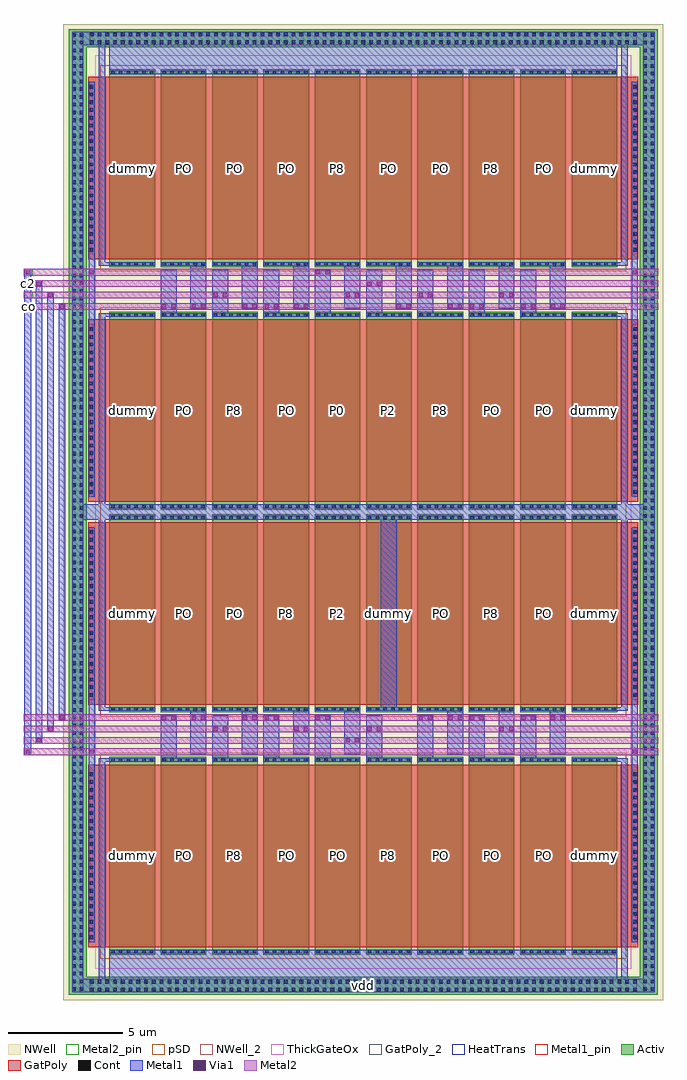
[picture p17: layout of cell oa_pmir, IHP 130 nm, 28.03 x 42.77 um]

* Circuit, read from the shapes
.subckt oa_pmir c2 c8 co vdd vpg
XM1 vdd vpg vdd vdd sg13_hv_pmos w=2u l=8u m=9
XM2 co vpg vdd vdd sg13_hv_pmos w=2u l=8u m=20
XM3 c8 vpg vdd vdd sg13_hv_pmos w=2u l=8u m=8
XM4 vdd vpg c2 vdd sg13_hv_pmos w=2u l=8u m=2
XM5 vpg vpg vdd vdd sg13_hv_pmos w=2u l=8u
.ends

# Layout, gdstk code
from math import pi, radians
import gdstk
lib = gdstk.Library(unit=1e-6, precision=1e-09)
def R(c, l, rs):  # rectangles x0, y0, x1, y1
    for r in rs: c.add(gdstk.rectangle(r[:2], r[2:], *l))
def A(c, l, x, y, w, h, nx, ny, dx, dy):  # array of equal rectangles
    R(c, l, [(x+i*dx, y+j*dy, x+i*dx+w, y+j*dy+h) for i in range(nx) for j in range(ny)])
Activ = (1, 0)
GatPoly = (5, 0)
GatPoly_2 = (5, 2)
Cont = (6, 0)
Metal1 = (8, 0)
Metal1_pin = (8, 2)
Metal2 = (10, 0)
Metal2_pin = (10, 2)
pSD = (14, 0)
Via1 = (19, 0)
NWell = (31, 0)
NWell_2 = (31, 2)
ThickGateOx = (44, 0)
HeatTrans = (51, 0)

pmoshv_9 = lib.new_cell('pmosHV$9')
R(pmoshv_9, Activ, [(0,0,0.3,0.3), (0,0,8.68,2), (8.38,0,8.68,0.3)])
R(pmoshv_9, GatPoly, [(0.34,-0.18,8.34,2.18)])
R(pmoshv_9, GatPoly_2, [(0.34,-0.18,8.34,2.18)])
A(pmoshv_9, Cont, 0.07, 0.07, 0.16, 0.16, 1, 6, 0, 0.34)
A(pmoshv_9, Cont, 8.45, 0.07, 0.16, 0.16, 1, 6, 0, 0.34)
R(pmoshv_9, Metal1, [(0.07,0,0.23,2), (8.45,0,8.61,2)])
R(pmoshv_9, Metal1_pin, [(0.07,0,0.23,2), (8.45,0,8.61,2)])
R(pmoshv_9, pSD, [(-0.18,-0.4,8.86,2.4)])
R(pmoshv_9, NWell, [(-0.62,-0.62,9.3,2.62)])
R(pmoshv_9, ThickGateOx, [(-0.62,-0.62,9.3,2.62)])
R(pmoshv_9, HeatTrans, [(0.34,-0.18,8.34,2.18)])
pmoshv_9.add(gdstk.Label('pmosHV', (4.34,1), layer=63, texttype=0))
pmoshv_9.add(gdstk.Label('pmos', (4.34,1), layer=51, texttype=0))

oa_pmir_row = lib.new_cell('oa_pmir_row')
R(oa_pmir_row, GatPoly, [(-0.93,0.34,-0.18,8.34), (22.43,0.34,23.18,8.34)])
A(oa_pmir_row, Cont, -0.86, 0.69, 0.16, 0.16, 1, 22, 0, 0.34)
A(oa_pmir_row, Cont, 22.95, 0.69, 0.16, 0.16, 1, 22, 0, 0.34)
R(oa_pmir_row, Metal1, [(-0.91,0.56,-0.65,8.12), (22.9,0.56,23.16,8.12)])
R(oa_pmir_row, Metal1_pin, [(-0.91,0.56,-0.65,8.12), (22.9,0.56,23.16,8.12)])
r = gdstk.Reference(pmoshv_9, (0,8.68), rotation=3*pi/2); r.repetition = gdstk.Repetition(1, 10, v1=(0,0), v2=(2.25,0)); oa_pmir_row.add(r)
oa_pmir_row.add(gdstk.Label('vpg', (-0.78,4.34), layer=8, texttype=25))
oa_pmir_row.add(gdstk.Label('vpg', (23.03,4.34), layer=8, texttype=25))

ntap1_35 = lib.new_cell('ntap1$35')
R(ntap1_35, Activ, [(0,0,0.78,42.29)])
A(ntap1_35, Cont, 0.14, 0.155, 0.16, 0.16, 1, 124, 0, 0.34)
A(ntap1_35, Cont, 0.48, 0.155, 0.16, 0.16, 1, 124, 0, 0.34)
R(ntap1_35, Metal1, [(0.14,0.105,0.64,42.185)])
R(ntap1_35, Metal1_pin, [(0.14,0.105,0.64,42.185), (0.14,0.155,0.64,42.135)])
R(ntap1_35, NWell, [(-0.24,-0.24,1.02,42.53), (0,0,0.78,42.29)])
R(ntap1_35, NWell_2, [(0,0,0.78,42.29)])
ntap1_35.add(gdstk.Label('well', (0.39,0.01), layer=63, texttype=0))
ntap1_35.add(gdstk.Label('well', (0.39,0.01), layer=31, texttype=0))

ntap1_36 = lib.new_cell('ntap1$36')
R(ntap1_36, Activ, [(0,0,24.25,0.78)])
A(ntap1_36, Cont, 0.145, 0.14, 0.16, 0.16, 71, 2, 0.34, 0.34)
R(ntap1_36, Metal1, [(0.145,0.09,24.105,0.69)])
R(ntap1_36, Metal1_pin, [(0.145,0.09,24.105,0.69), (0.145,0.14,24.105,0.64)])
R(ntap1_36, NWell, [(-0.24,-0.24,24.49,1.02), (0,0,24.25,0.78)])
R(ntap1_36, NWell_2, [(0,0,24.25,0.78)])
ntap1_36.add(gdstk.Label('well', (12.125,0.01), layer=63, texttype=0))
ntap1_36.add(gdstk.Label('well', (12.125,0.01), layer=31, texttype=0))

oa_pmir = lib.new_cell('oa_pmir')
A(oa_pmir, Metal1, 2.25, 8.45, 0.7, 2.055, 8, 2, 2.25, 19.51)
A(oa_pmir, Metal1, 3.55, 8.795, 0.7, 2.055, 4, 1, 2.25, 0)
A(oa_pmir, Metal1, 14.8, 8.795, 0.7, 2.055, 3, 1, 2.25, 0)
A(oa_pmir, Metal1, 3.55, 28.305, 0.7, 2.055, 8, 1, 2.25, 0)
R(oa_pmir, Metal1, [(-1.64,-1.65,23.89,-1.635), (-1.24,-1.65,-0.755,-1.05), (0,-1.65,22.25,0.23), (23.005,-1.65,23.49,-1.05), (-0.47,-1.15,-0.18,8.61), (22.43,-1.15,22.72,8.61), (-0.91,8.02,-0.65,11.28), (22.9,8.02,23.16,11.28), (-0.47,8.45,0.1,8.61), (22.15,8.45,22.72,8.61), (-3.725,8.755,-3.435,30.055), (-3.225,9.255,-2.935,29.555), (-2.725,9.755,-2.435,29.055), (-2.225,10.255,-1.935,28.555), (-0.47,10.69,0.1,10.85), (-0.47,10.69,-0.18,19.74), (11.9,10.69,12.6,19.23), (22.15,10.69,22.72,10.85), (22.43,10.69,22.72,19.74), (-1.24,19.07,23.49,19.74), (-0.47,19.07,-0.18,28.12), (22.43,19.07,22.72,28.12), (-0.91,27.53,-0.65,30.79), (22.9,27.53,23.16,30.79), (-0.47,27.96,0.1,28.12), (22.15,27.96,22.72,28.12), (-0.47,30.2,-0.18,39.96), (-0.47,30.2,0.1,30.36), (22.15,30.2,22.72,30.36), (22.43,30.2,22.72,39.96), (0,38.58,22.25,40.46), (-1.24,39.86,-0.755,40.46), (23.005,39.86,23.49,40.46), (-1.64,40.445,23.89,40.46)])
R(oa_pmir, Metal1_pin, [(-0.855,-1.65,23.105,-1.05)])
A(oa_pmir, Metal2_pin, -3.755, 28.265, 0.4, 0.29, 1, 4, 0, 0.5)
R(oa_pmir, Via1, [(-3.675,8.805,-3.485,8.995), (-0.875,8.805,-0.685,8.995), (22.935,8.805,23.125,8.995), (-3.175,9.305,-2.985,9.495), (10.35,9.305,10.54,9.495), (10.76,9.305,10.95,9.495), (-2.675,9.805,-2.485,9.995), (4.55,9.805,4.74,9.995), (4.96,9.805,5.15,9.995), (8.1,9.805,8.29,9.995), (8.51,9.805,8.7,9.995), (11.3,9.805,11.49,9.995), (11.71,9.805,11.9,9.995), (17.1,9.805,17.29,9.995), (17.51,9.805,17.7,9.995), (-2.175,10.305,-1.985,10.495), (2.3,10.305,2.49,10.495), (2.71,10.305,2.9,10.495), (3.6,10.305,3.79,10.495), (4.01,10.305,4.2,10.495), (5.85,10.305,6.04,10.495), (6.26,10.305,6.45,10.495), (6.8,10.305,6.99,10.495), (7.21,10.305,7.4,10.495), (9.05,10.305,9.24,10.495), (9.46,10.305,9.65,10.495), (13.55,10.305,13.74,10.495), (13.96,10.305,14.15,10.495), (14.85,10.305,15.04,10.495), (15.26,10.305,15.45,10.495), (15.8,10.305,15.99,10.495), (16.21,10.305,16.4,10.495), (18.05,10.305,18.24,10.495), (18.46,10.305,18.65,10.495), (19.35,10.305,19.54,10.495), (19.76,10.305,19.95,10.495), (-2.175,28.315,-1.985,28.505), (2.3,28.315,2.49,28.505), (2.71,28.315,2.9,28.505), (3.6,28.315,3.79,28.505), (4.01,28.315,4.2,28.505), (5.85,28.315,6.04,28.505), (6.26,28.315,6.45,28.505), (6.8,28.315,6.99,28.505), (7.21,28.315,7.4,28.505), (8.1,28.315,8.29,28.505), (8.51,28.315,8.7,28.505), (12.6,28.315,12.79,28.505), (13.01,28.315,13.2,28.505), (14.85,28.315,15.04,28.505), (15.26,28.315,15.45,28.505), (15.8,28.315,15.99,28.505), (16.21,28.315,16.4,28.505), (18.05,28.315,18.24,28.505), (18.46,28.315,18.65,28.505), (19.35,28.315,19.54,28.505), (19.76,28.315,19.95,28.505), (-2.675,28.815,-2.485,29.005), (4.55,28.815,4.74,29.005), (4.96,28.815,5.15,29.005), (10.35,28.815,10.54,29.005), (10.76,28.815,10.95,29.005), (13.55,28.815,13.74,29.005), (13.96,28.815,14.15,29.005), (17.1,28.815,17.29,29.005), (17.51,28.815,17.7,29.005), (-3.175,29.315,-2.985,29.505), (11.3,29.315,11.49,29.505), (11.71,29.315,11.9,29.505), (-3.675,29.815,-3.485,30.005), (-0.875,29.815,-0.685,30.005), (9.05,29.815,9.24,30.005), (9.46,29.815,9.65,30.005), (22.935,29.815,23.125,30.005)])
R(oa_pmir, NWell, [(-2.02,-1.98,24.27,40.79)])
R(oa_pmir, ThickGateOx, [(-0.62,-0.62,22.87,39.43)])
oa_pmir.add(gdstk.FlexPath([(-3.61,28.41),(23.915,28.41)], 0.29, ends="extended", simple_path=True, layer=10, datatype=0))  # Metal2
oa_pmir.add(gdstk.FlexPath([(-3.61,28.91),(23.915,28.91)], 0.29, ends="extended", simple_path=True, layer=10, datatype=0))  # Metal2
oa_pmir.add(gdstk.FlexPath([(-3.61,29.41),(23.915,29.41)], 0.29, ends="extended", simple_path=True, layer=10, datatype=0))  # Metal2
oa_pmir.add(gdstk.FlexPath([(-3.61,29.91),(23.915,29.91)], 0.29, ends="extended", simple_path=True, layer=10, datatype=0))  # Metal2
oa_pmir.add(gdstk.FlexPath([(-3.61,8.9),(23.915,8.9)], 0.29, ends="extended", simple_path=True, layer=10, datatype=0))  # Metal2
oa_pmir.add(gdstk.FlexPath([(-3.61,9.4),(23.915,9.4)], 0.29, ends="extended", simple_path=True, layer=10, datatype=0))  # Metal2
oa_pmir.add(gdstk.FlexPath([(-3.61,9.9),(23.915,9.9)], 0.29, ends="extended", simple_path=True, layer=10, datatype=0))  # Metal2
oa_pmir.add(gdstk.FlexPath([(-3.61,10.4),(23.915,10.4)], 0.29, ends="extended", simple_path=True, layer=10, datatype=0))  # Metal2
oa_pmir.add(gdstk.Reference(oa_pmir_row, (0,30.13)))
oa_pmir.add(gdstk.Reference(oa_pmir_row, (0,19.51)))
oa_pmir.add(gdstk.Reference(oa_pmir_row, (0,10.62)))
oa_pmir.add(gdstk.Reference(oa_pmir_row, (0,0)))
oa_pmir.add(gdstk.Reference(ntap1_35, (-1.78,-1.74)))
oa_pmir.add(gdstk.Reference(ntap1_35, (23.25,-1.74)))
oa_pmir.add(gdstk.Reference(ntap1_36, (-1,39.77)))
oa_pmir.add(gdstk.Reference(ntap1_36, (-1,-1.74)))
oa_pmir.add(gdstk.Label('dummy', (1,34.47), layer=63, texttype=0))
oa_pmir.add(gdstk.Label('PO', (3.25,34.47), layer=63, texttype=0))
oa_pmir.add(gdstk.Label('PO', (5.5,34.47), layer=63, texttype=0))
oa_pmir.add(gdstk.Label('PO', (7.75,34.47), layer=63, texttype=0))
oa_pmir.add(gdstk.Label('P8', (10,34.47), layer=63, texttype=0))
oa_pmir.add(gdstk.Label('PO', (12.25,34.47), layer=63, texttype=0))
oa_pmir.add(gdstk.Label('PO', (14.5,34.47), layer=63, texttype=0))
oa_pmir.add(gdstk.Label('P8', (16.75,34.47), layer=63, texttype=0))
oa_pmir.add(gdstk.Label('PO', (19,34.47), layer=63, texttype=0))
oa_pmir.add(gdstk.Label('dummy', (21.25,34.47), layer=63, texttype=0))
oa_pmir.add(gdstk.Label('dummy', (1,23.85), layer=63, texttype=0))
oa_pmir.add(gdstk.Label('PO', (3.25,23.85), layer=63, texttype=0))
oa_pmir.add(gdstk.Label('P8', (5.5,23.85), layer=63, texttype=0))
oa_pmir.add(gdstk.Label('PO', (7.75,23.85), layer=63, texttype=0))
oa_pmir.add(gdstk.Label('P0', (10,23.85), layer=63, texttype=0))
oa_pmir.add(gdstk.Label('P2', (12.25,23.85), layer=63, texttype=0))
oa_pmir.add(gdstk.Label('P8', (14.5,23.85), layer=63, texttype=0))
oa_pmir.add(gdstk.Label('PO', (16.75,23.85), layer=63, texttype=0))
oa_pmir.add(gdstk.Label('PO', (19,23.85), layer=63, texttype=0))
oa_pmir.add(gdstk.Label('dummy', (21.25,23.85), layer=63, texttype=0))
oa_pmir.add(gdstk.Label('dummy', (1,14.96), layer=63, texttype=0))
oa_pmir.add(gdstk.Label('PO', (3.25,14.96), layer=63, texttype=0))
oa_pmir.add(gdstk.Label('PO', (5.5,14.96), layer=63, texttype=0))
oa_pmir.add(gdstk.Label('P8', (7.75,14.96), layer=63, texttype=0))
oa_pmir.add(gdstk.Label('P2', (10,14.96), layer=63, texttype=0))
oa_pmir.add(gdstk.Label('dummy', (12.25,14.96), layer=63, texttype=0))
oa_pmir.add(gdstk.Label('PO', (14.5,14.96), layer=63, texttype=0))
oa_pmir.add(gdstk.Label('P8', (16.75,14.96), layer=63, texttype=0))
oa_pmir.add(gdstk.Label('PO', (19,14.96), layer=63, texttype=0))
oa_pmir.add(gdstk.Label('dummy', (21.25,14.96), layer=63, texttype=0))
oa_pmir.add(gdstk.Label('dummy', (1,4.34), layer=63, texttype=0))
oa_pmir.add(gdstk.Label('PO', (3.25,4.34), layer=63, texttype=0))
oa_pmir.add(gdstk.Label('P8', (5.5,4.34), layer=63, texttype=0))
oa_pmir.add(gdstk.Label('PO', (7.75,4.34), layer=63, texttype=0))
oa_pmir.add(gdstk.Label('PO', (10,4.34), layer=63, texttype=0))
oa_pmir.add(gdstk.Label('P8', (12.25,4.34), layer=63, texttype=0))
oa_pmir.add(gdstk.Label('PO', (14.5,4.34), layer=63, texttype=0))
oa_pmir.add(gdstk.Label('PO', (16.75,4.34), layer=63, texttype=0))
oa_pmir.add(gdstk.Label('PO', (19,4.34), layer=63, texttype=0))
oa_pmir.add(gdstk.Label('dummy', (21.25,4.34), layer=63, texttype=0))
oa_pmir.add(gdstk.Label('vdd', (11.125,-1.35), layer=8, texttype=25))
oa_pmir.add(gdstk.Label('co', (-3.555,28.41), layer=10, texttype=25))
oa_pmir.add(gdstk.Label('c8', (-3.555,28.91), layer=10, texttype=25))
oa_pmir.add(gdstk.Label('c2', (-3.555,29.41), layer=10, texttype=25))
oa_pmir.add(gdstk.Label('vpg', (-3.555,29.91), layer=10, texttype=25))

lib.write_gds('oa_pmir.gds')
